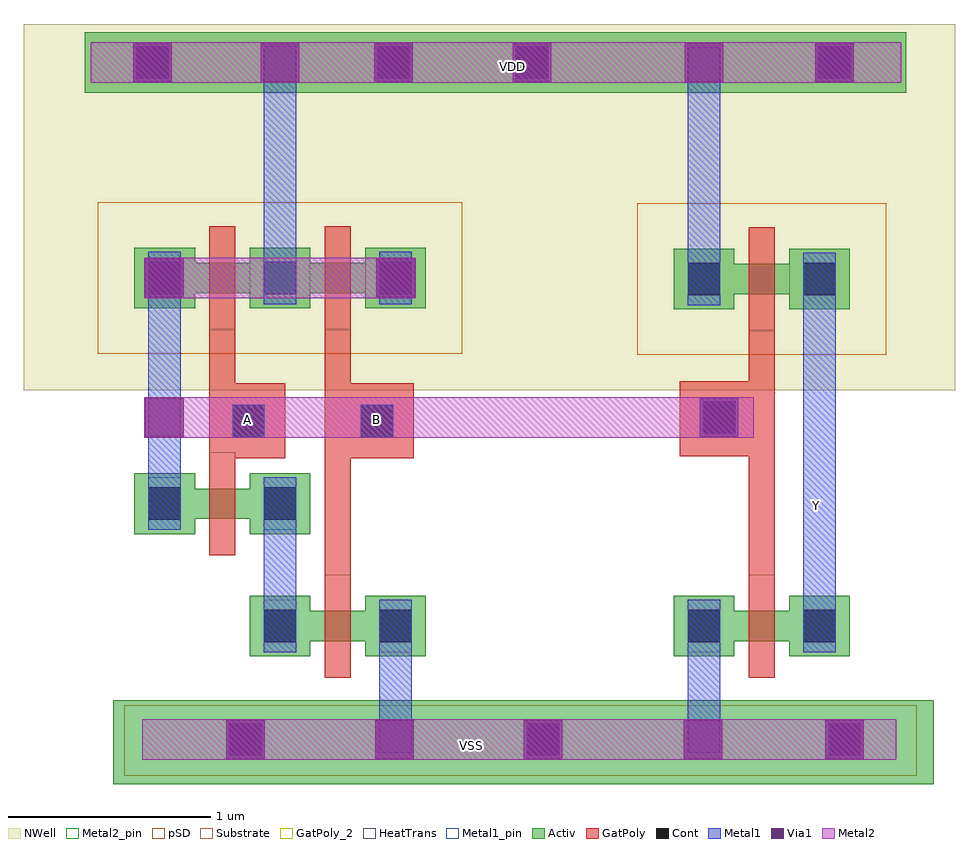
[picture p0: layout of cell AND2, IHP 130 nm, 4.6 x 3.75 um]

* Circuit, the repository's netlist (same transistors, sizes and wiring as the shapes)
** sch_path: /home/tundzi-lp1710/LAYOUT_ANALOG_FALL_DTVT/Bai_Tap_Buoi_2/AND_GATE/Layout/AND2.sch
.subckt AND2 A B Y VDD VSS
*.PININFO A:I B:I Y:O VDD:B VSS:B
MM1 net1 A net2 VSS sg13_lv_nmos w=0.15u l=0.13u ng=1
MM2 net1 A VDD VDD sg13_lv_pmos w=0.15u l=0.13u ng=1
MM3 net1 B VDD VDD sg13_lv_pmos w=0.15u l=0.13u ng=1
MM4 net2 B VSS VSS sg13_lv_nmos w=0.15u l=0.13u ng=1
MM5 Y net1 VDD VDD sg13_lv_pmos w=0.15u l=0.13u ng=1
MM6 Y net1 VSS VSS sg13_lv_nmos w=0.15u l=0.13u ng=1
.ends

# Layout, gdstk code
import gdstk
lib = gdstk.Library(unit=1e-6, precision=5e-09)
def R(c, l, rs):  # rectangles x0, y0, x1, y1
    for r in rs: c.add(gdstk.rectangle(r[:2], r[2:], *l))
def A(c, l, x, y, w, h, nx, ny, dx, dy):  # array of equal rectangles
    R(c, l, [(x+i*dx, y+j*dy, x+i*dx+w, y+j*dy+h) for i in range(nx) for j in range(ny)])
Activ = (1, 0)
GatPoly = (5, 0)
GatPoly_2 = (5, 2)
Cont = (6, 0)
Metal1 = (8, 0)
Metal1_pin = (8, 2)
Metal2 = (10, 0)
Metal2_pin = (10, 2)
pSD = (14, 0)
Via1 = (19, 0)
NWell = (31, 0)
Substrate = (40, 0)
HeatTrans = (51, 0)

pmos = lib.new_cell('pmos')
R(pmos, Activ, [(0,0,0.3,0.3), (0.57,0,0.87,0.3), (0,0.075,0.87,0.225)])
R(pmos, GatPoly, [(0.37,-0.105,0.5,0.405), (0.37,-0.105,0.5,0.405)])
R(pmos, Cont, [(0.07,0.07,0.23,0.23), (0.64,0.07,0.8,0.23)])
R(pmos, Metal1, [(0.07,0.02,0.23,0.28), (0.07,0.02,0.23,0.28), (0.64,0.02,0.8,0.28), (0.64,0.02,0.8,0.28)])
R(pmos, pSD, [(-0.18,-0.225,1.05,0.525)])
R(pmos, NWell, [(-0.31,-0.31,1.18,0.61)])
R(pmos, Substrate, [(0.57,0,0.87,0.3)])
R(pmos, HeatTrans, [(0.37,-0.105,0.5,0.405)])
pmos.add(gdstk.Label('pmos', (0.435,0.15), layer=63, texttype=0))
pmos.add(gdstk.Label('pmos', (0.435,0.15), layer=51, texttype=0))

nmos = lib.new_cell('nmos')
R(nmos, Activ, [(0,0,0.3,0.3), (0.57,0,0.87,0.3), (0,0.075,0.87,0.225)])
R(nmos, GatPoly, [(0.37,-0.105,0.5,0.405)])
R(nmos, GatPoly_2, [(0.37,-0.105,0.5,0.405)])
R(nmos, Cont, [(0.07,0.07,0.23,0.23), (0.64,0.07,0.8,0.23)])
R(nmos, Metal1, [(0.07,0.02,0.23,0.28), (0.64,0.02,0.8,0.28)])
R(nmos, Metal1_pin, [(0.07,0.02,0.23,0.28), (0.64,0.02,0.8,0.28)])
R(nmos, HeatTrans, [(0.37,-0.105,0.5,0.405)])
nmos.add(gdstk.Label('nmos', (0.435,0.15), layer=63, texttype=0))
nmos.add(gdstk.Label('nmos', (0.435,0.15), layer=51, texttype=0))

and2 = lib.new_cell('AND2')
R(and2, Activ, [(0.34,-2.255,4.395,-1.84), (0.2,1.16,4.26,1.46)])
R(and2, GatPoly, [(3.48,-1.305,3.61,0.005), (1.385,-1.275,1.515,0.015), (0.815,-0.645,1.19,-0.275), (0.815,-0.645,1.19,-0.275), (1.45,-0.645,1.825,-0.275), (1.45,-0.645,1.825,-0.275), (3.14,-0.635,3.515,-0.265), (0.815,-0.63,0.945,0.07)])
R(and2, Cont, [(0.915,-2.115,1.075,-1.955), (2.385,-2.115,2.545,-1.955), (3.875,-2.115,4.035,-1.955), (0.93,-0.54,1.09,-0.38), (1.565,-0.54,1.725,-0.38), (3.255,-0.525,3.415,-0.365), (0.455,1.23,0.615,1.39), (1.645,1.23,1.805,1.39), (2.33,1.23,2.49,1.39), (3.825,1.23,3.985,1.39)])
R(and2, Metal1, [(0.915,-2.115,1.075,-1.955), (2.385,-2.115,2.545,-1.955), (3.875,-2.115,4.035,-1.955), (1.655,-2.1,1.815,-1.395), (3.18,-2.1,3.34,-1.395), (1.085,-1.555,1.245,-0.79), (3.75,-1.555,3.91,0.32), (0.515,-0.95,0.675,0.325), (0.93,-0.54,1.09,-0.38), (1.565,-0.54,1.725,-0.38), (3.255,-0.525,3.415,-0.365), (3.18,0.16,3.34,1.385), (1.085,0.165,1.245,1.39), (0.455,1.23,0.615,1.39), (1.645,1.23,1.805,1.39), (2.33,1.23,2.49,1.39), (3.825,1.23,3.985,1.39)])
R(and2, Metal1_pin, [(3.75,-1.555,3.91,0.32), (0.93,-0.54,1.09,-0.38), (1.565,-0.54,1.725,-0.38)])
R(and2, Metal2, [(0.485,-2.135,4.21,-1.935), (0.495,-0.545,3.505,-0.345), (0.495,0.145,1.835,0.345), (0.23,1.21,4.235,1.41)])
R(and2, Metal2_pin, [(0.485,-2.135,4.21,-1.935), (0.23,1.21,4.235,1.41)])
R(and2, pSD, [(0.395,-2.215,4.31,-1.865)])
A(and2, Via1, 0.9, -2.13, 0.19, 0.19, 3, 1, 0.735, 0)
R(and2, Via1, [(3.16,-2.13,3.35,-1.94), (3.86,-2.13,4.05,-1.94), (0.5,-0.54,0.69,-0.35), (3.24,-0.54,3.43,-0.35), (0.5,0.15,0.69,0.34), (1.64,0.15,1.83,0.34), (0.44,1.215,0.63,1.405), (1.07,1.215,1.26,1.405), (1.63,1.215,1.82,1.405), (2.315,1.215,2.505,1.405), (3.165,1.215,3.355,1.405), (3.81,1.215,4,1.405)])
R(and2, NWell, [(-0.1,-0.31,4.5,1.5)])
and2.add(gdstk.Reference(pmos, (0.445,0.095)))
and2.add(gdstk.Reference(pmos, (1.015,0.095)))
and2.add(gdstk.Reference(pmos, (3.11,0.09)))
and2.add(gdstk.Reference(nmos, (0.445,-1.02)))
and2.add(gdstk.Reference(nmos, (1.015,-1.625)))
and2.add(gdstk.Reference(nmos, (3.11,-1.625)))
and2.add(gdstk.Label('A', (1.005,-0.455), layer=8, texttype=25))
and2.add(gdstk.Label('B', (1.64,-0.455), layer=8, texttype=25))
and2.add(gdstk.Label('Y', (3.815,-0.88), layer=8, texttype=25))
and2.add(gdstk.Label('VDD', (2.315,1.29), layer=10, texttype=25))
and2.add(gdstk.Label('VSS', (2.11,-2.065), layer=10, texttype=25))

lib.write_gds('AND2.gds')
